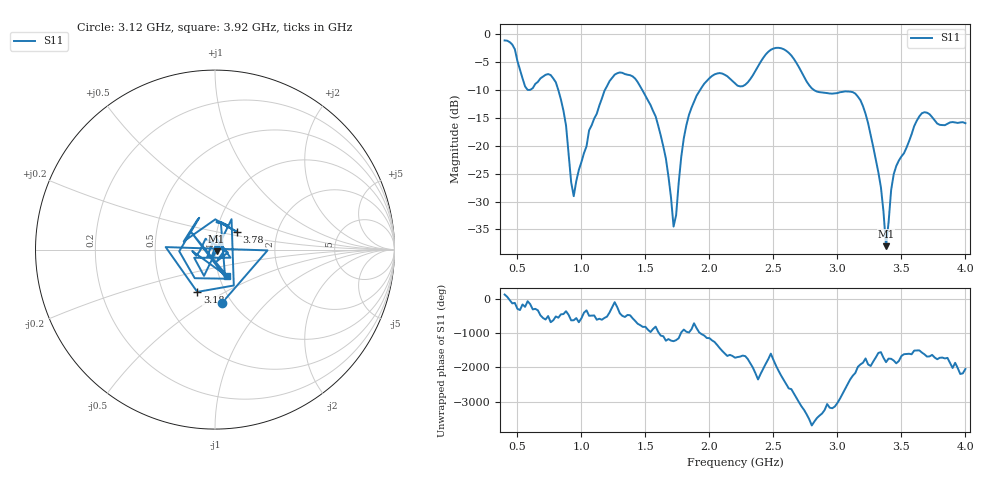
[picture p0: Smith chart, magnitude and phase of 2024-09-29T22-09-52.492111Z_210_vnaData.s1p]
!Created with skrf (http://scikit-rf.org).
# Hz S RI R 50.0
!freq ReS11 ImS11
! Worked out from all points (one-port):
!   181 points, 400 MHz to 4 GHz, reference 50 ohm
!   lowest |S11| = -38.0 dB at 3.38 GHz (marker M1), VSWR 1.03, Z = 50.9 - j0.928 ohm
!   |S11| at or under -10 dB: 819.2 MHz to 1.184 GHz (365 MHz wide, 36.4 % of centre); 1.475 GHz to 1.928 GHz (453 MHz wide, 26.6 % of centre); 2.816 GHz to end of sweep (the widest 3 of 4)
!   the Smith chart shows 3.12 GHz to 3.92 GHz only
!   S11 on the Smith chart (normalised r, x): 3.12 GHz: 0.89, -0.59; 3.18 GHz: 0.74, -0.37; 3.78 GHz: 1.25, +0.25; 3.92 GHz: 1.09, -0.33
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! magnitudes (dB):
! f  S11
! 400 MHz  -1.2
! 580 MHz  -10.0
! 760 MHz  -7.3
! 860 MHz  -13.8
! 940 MHz  -29.0
! 1.06 GHz  -17.2
! 1.3 GHz  -6.9
! 1.58 GHz  -14.7
! 1.66 GHz  -22.3
! 1.72 GHz  -34.5
! 1.76 GHz  -26.7
! 1.82 GHz  -16.3
! 1.9 GHz  -11.0
! 2.2 GHz  -8.8
! 2.5 GHz  -2.6
! 2.66 GHz  -4.5
! 2.82 GHz  -10.1
! 3.1 GHz  -10.3
! 3.12 GHz  -10.4
! 3.18 GHz  -11.8
! 3.32 GHz  -24.8
! 3.38 GHz  -38.0
! 3.44 GHz  -25.1
! 3.56 GHz  -19.2
! 3.66 GHz  -14.2
! 3.78 GHz  -16.0
! 3.92 GHz  -15.8
! 4 GHz  -16.0
